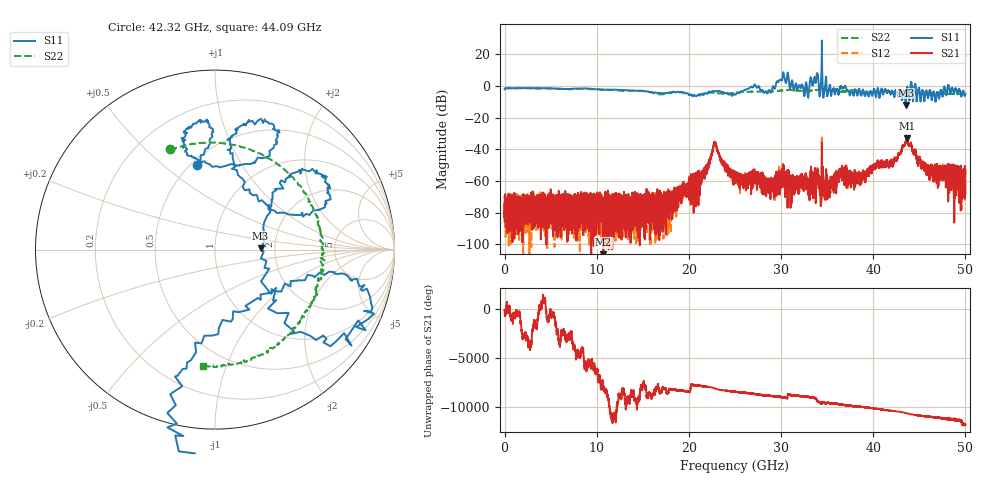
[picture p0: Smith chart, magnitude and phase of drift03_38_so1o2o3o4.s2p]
!Created with skrf (http://scikit-rf.org).
# Hz S RI R 50.0
!freq ReS11 ImS11 ReS21 ImS21 ReS12 ImS12 ReS22 ImS22
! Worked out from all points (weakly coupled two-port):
!   10000 points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, 5.3 MHz to 50 GHz, reference 50 ohm
!   highest |S21| = -32.79 dB at 43.64 GHz (marker M1); lowest = -114.9 dB at 10.72 GHz (marker M2)
!   lowest |S11| = -11.9 dB at 43.52 GHz (marker M3), VSWR 1.68, Z = 84 + j1.39 ohm
!   |S11| at or under -10 dB: 43.48448 GHz to 43.54422 GHz (59.74 MHz wide, 0.137 % of centre); 43.5476 GHz to 43.55547 GHz (7.867 MHz wide, 0.0181 % of centre)
!   |S22| runs from -5.9 to -1.3 dB; largest |S21 - S12| = 0.01
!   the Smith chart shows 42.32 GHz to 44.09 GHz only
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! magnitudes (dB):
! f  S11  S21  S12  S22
! 5.3 MHz  -2.1  -79.0  -77.3  -2.1
! 8.34 GHz  -1.5  -81.4  -75.0  -1.9
! 10.72 GHz  -2.3  -114.9  -81.1  -2.3
! 16.67 GHz  -4.4  -82.0  -69.5  -5.2
! 20.94 GHz  -5.8  -56.5  -59.4  -5.6
! 21.94 GHz  -4.9  -53.2  -52.7  -4.4
! 22.82 GHz  -3.4  -35.3  -35.6  -4.4
! 25.01 GHz  -5.5  -61.5  -55.6  -4.3
! 27.02 GHz  -0.3  -56.8  -56.7  -3.5
! 28.72 GHz  -2.5  -62.7  -62.4  -3.6
! 30.14 GHz  4.4  -57.9  -62.2  -2.8
! 32.74 GHz  2.0  -57.2  -57.4  -3.3
! 33.34 GHz  2.6  -55.0  -60.3  -2.9
! 34.89 GHz  5.4  -57.3  -60.7  -2.4
! 36.46 GHz  -0.5  -57.0  -54.1  -3.5
! 38.49 GHz  -1.8  -58.1  -57.8  -3.1
! 41.67 GHz  -3.0  -50.9  -50.9  -3.7
! 43.52 GHz  -11.9  -35.2  -35.3  -4.3
! 43.64 GHz  -2.0  -32.8  -33.1  -4.0
! 46.28 GHz  -5.8  -53.5  -53.0  -5.7
! 49.66 GHz  -4.4  -60.7  -64.5  -5.0
! 50 GHz  -5.2  -52.8  -53.0  -5.0
